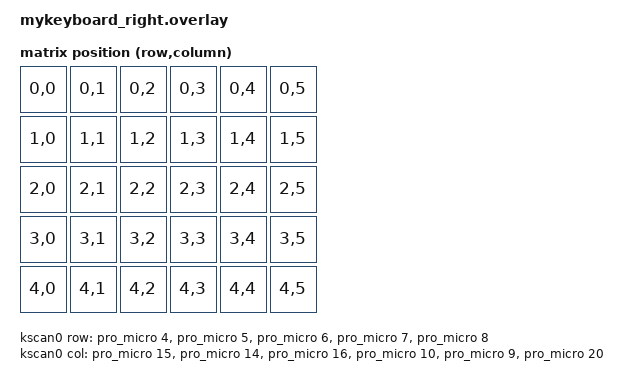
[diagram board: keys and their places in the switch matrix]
/*
 * Copyright (c) 2024 The ZMK Contributors
 * SPDX-License-Identifier: MIT
 */

#include <dt-bindings/zmk/matrix_transform.h>

/ {
    chosen {
        zmk,kscan = &kscan0;
        zmk,matrix-transform = &default_transform;
    };

    // Maps this half's physical row/col matrix positions onto keymap
    // positions 30-59 (right half = second 30 keys of your 60-key keymap).
    default_transform: keymap_transform_0 {
        compatible = "zmk,matrix-transform";
        columns = <6>;
        rows = <5>;

        map = <
RC(0,0) RC(0,1) RC(0,2) RC(0,3) RC(0,4) RC(0,5)
RC(1,0) RC(1,1) RC(1,2) RC(1,3) RC(1,4) RC(1,5)
RC(2,0) RC(2,1) RC(2,2) RC(2,3) RC(2,4) RC(2,5)
RC(3,0) RC(3,1) RC(3,2) RC(3,3) RC(3,4) RC(3,5)
RC(4,0) RC(4,1) RC(4,2) RC(4,3) RC(4,4) RC(4,5)
        >;
    };

    kscan0: kscan {
        compatible = "zmk,kscan-gpio-matrix";
        wakeup-source;

        // TODO: set to "row2col" instead if that's how your diodes are wired
        // (must match the left half's setting)
        diode-direction = "col2row";

        // =====================================================================
        // TODO — REPLACE EVERY PIN NUMBER BELOW with your RIGHT half's wiring.
        // Same placeholder rules as the left overlay — see that file's
        // comments and https://zmk.dev/docs/hardware/nice-nano for reference.
        // =====================================================================
        row-gpios
            = <&pro_micro 4  GPIO_ACTIVE_HIGH>   // ROW0 - placeholder, replace
            , <&pro_micro 5  GPIO_ACTIVE_HIGH>   // ROW1 - placeholder, replace
            , <&pro_micro 6  GPIO_ACTIVE_HIGH>   // ROW2 - placeholder, replace
            , <&pro_micro 7  GPIO_ACTIVE_HIGH>   // ROW3 - placeholder, replace
            , <&pro_micro 8  GPIO_ACTIVE_HIGH>   // ROW4 - placeholder, replace
            ;

        col-gpios
            = <&pro_micro 15 GPIO_ACTIVE_HIGH>   // COL0 - placeholder, replace
            , <&pro_micro 14 GPIO_ACTIVE_HIGH>   // COL1 - placeholder, replace
            , <&pro_micro 16 GPIO_ACTIVE_HIGH>   // COL2 - placeholder, replace
            , <&pro_micro 10 GPIO_ACTIVE_HIGH>   // COL3 - placeholder, replace
            , <&pro_micro 9  GPIO_ACTIVE_HIGH>   // COL4 - placeholder, replace
            , <&pro_micro 20 GPIO_ACTIVE_HIGH>   // COL5 - placeholder, replace
            ;
    };
};
